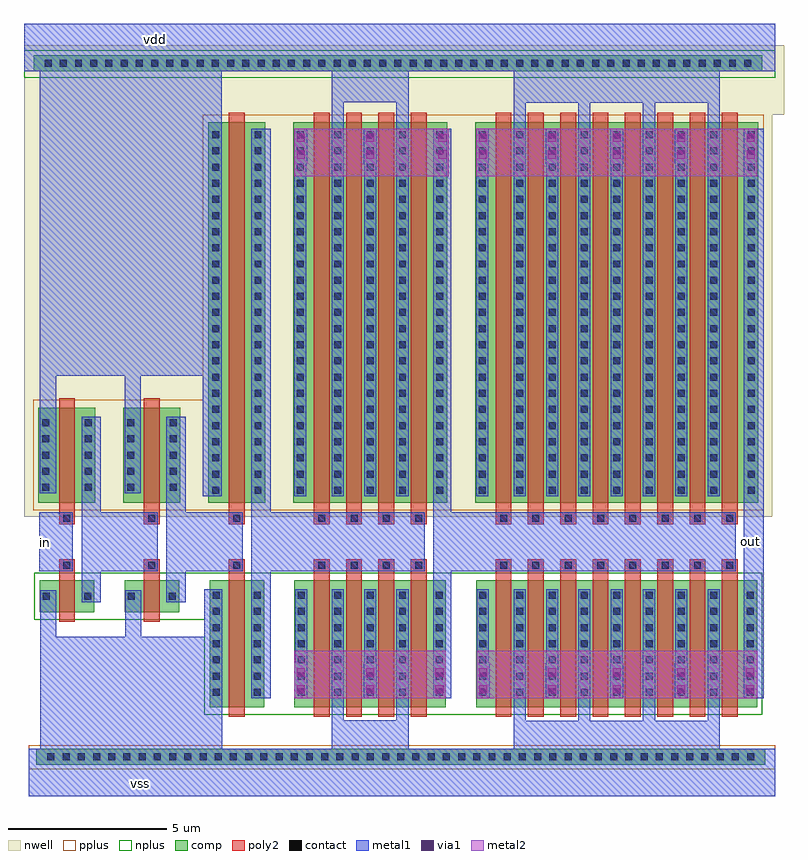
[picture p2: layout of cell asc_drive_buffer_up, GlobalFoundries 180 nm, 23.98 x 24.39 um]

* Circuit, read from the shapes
.subckt asc_drive_buffer_up in out vdd vss
XM1 n1 in vss vss nfet_03v3 w=1u l=0.5u
XM2 n2 n1 vss vss nfet_03v3 w=1u l=0.5u
XM3 n3 n2 vss vss nfet_03v3 w=4u l=0.5u
XM4 vss n3 n4 vss nfet_03v3 w=4u l=0.5u m=4
XM5 vss n4 out vss nfet_03v3 w=4u l=0.5u m=8
XM6 n1 in vdd vdd pfet_03v3 w=3u l=0.5u
XM7 n2 n1 vdd vdd pfet_03v3 w=3u l=0.5u
XM8 n3 n2 vdd vdd pfet_03v3 w=12u l=0.5u
XM9 vdd n3 n4 vdd pfet_03v3 w=12u l=0.5u m=4
XM10 vdd n4 out vdd pfet_03v3 w=12u l=0.5u m=8
.ends

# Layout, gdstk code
from math import pi, radians
import gdstk
lib = gdstk.Library(unit=1e-6, precision=1e-09)
def R(c, l, rs):  # rectangles x0, y0, x1, y1
    for r in rs: c.add(gdstk.rectangle(r[:2], r[2:], *l))
def A(c, l, x, y, w, h, nx, ny, dx, dy):  # array of equal rectangles
    R(c, l, [(x+i*dx, y+j*dy, x+i*dx+w, y+j*dy+h) for i in range(nx) for j in range(ny)])
nwell = (21, 0)
comp = (22, 0)
poly2 = (30, 0)
pplus = (31, 0)
nplus = (32, 0)
contact = (33, 0)
metal1 = (34, 0)
via1 = (35, 0)
metal2 = (36, 0)

via_dev_817 = lib.new_cell('via_dev$817')

via_dev_818 = lib.new_cell('via_dev$818')
R(via_dev_818, metal1, [(0,0,1.1,0.4)])
R(via_dev_818, via1, [(0.155,0.07,0.415,0.33), (0.685,0.07,0.945,0.33)])
R(via_dev_818, metal2, [(0,0,1.1,0.4)])

nfet_276 = lib.new_cell('nfet$276')
R(nfet_276, comp, [(-0.42,0,0,4), (0,0,3.94,4), (3.94,0,4.36,4)])
A(nfet_276, poly2, 0.19, -0.3, 0.5, 4.6, 4, 1, 1.02, 0)
A(nfet_276, poly2, 0.19, 4.3, 0.5, 0.36, 4, 1, 1.02, 0)
R(nfet_276, nplus, [(-0.59,-0.24,4.53,4.24)])
A(nfet_276, contact, -0.32, 0.36, 0.22, 0.22, 1, 7, 0, 0.51)
A(nfet_276, contact, 0.84, 0.36, 0.22, 0.22, 3, 7, 1.02, 0.51)
A(nfet_276, contact, 4.04, 0.36, 0.22, 0.22, 1, 7, 0, 0.51)
A(nfet_276, contact, 0.33, 4.37, 0.22, 0.22, 4, 1, 1.02, 0)
A(nfet_276, metal1, 0.76, 0.28, 0.38, 3.44, 3, 1, 1.02, 0)
A(nfet_276, metal1, 0.25, 4.29, 0.38, 0.38, 4, 1, 1.02, 0)
R(nfet_276, metal1, [(-0.4,0.28,-0.02,3.72), (3.96,0.28,4.34,3.72)])

via_dev_819 = lib.new_cell('via_dev$819')
R(via_dev_819, comp, [(0,0,23,0.5)])
A(via_dev_819, contact, 0.35, 0.14, 0.22, 0.22, 47, 1, 0.48, 0)
R(via_dev_819, metal1, [(0,0,23,0.5)])

nfet_277 = lib.new_cell('nfet$277')
R(nfet_277, comp, [(-0.42,0,0,4), (0,0,8.02,4), (8.02,0,8.44,4)])
A(nfet_277, poly2, 0.19, -0.3, 0.5, 4.6, 8, 1, 1.02, 0)
A(nfet_277, poly2, 0.19, 4.3, 0.5, 0.36, 8, 1, 1.02, 0)
R(nfet_277, nplus, [(-0.59,-0.24,8.61,4.24)])
A(nfet_277, contact, -0.32, 0.36, 0.22, 0.22, 1, 7, 0, 0.51)
A(nfet_277, contact, 0.84, 0.36, 0.22, 0.22, 7, 7, 1.02, 0.51)
A(nfet_277, contact, 8.12, 0.36, 0.22, 0.22, 1, 7, 0, 0.51)
A(nfet_277, contact, 0.33, 4.37, 0.22, 0.22, 8, 1, 1.02, 0)
A(nfet_277, metal1, 0.76, 0.28, 0.38, 3.44, 7, 1, 1.02, 0)
A(nfet_277, metal1, 0.25, 4.29, 0.38, 0.38, 8, 1, 1.02, 0)
R(nfet_277, metal1, [(-0.4,0.28,-0.02,3.72), (8.04,0.28,8.42,3.72)])

pfet_257 = lib.new_cell('pfet$257')
R(pfet_257, nwell, [(-0.9,-0.44,8.92,12.44)])
R(pfet_257, comp, [(-0.46,0,0,12), (0,0,8.02,12), (8.02,0,8.48,12)])
A(pfet_257, poly2, 0.19, -0.68, 0.5, 0.38, 8, 1, 1.02, 0)
A(pfet_257, poly2, 0.19, -0.3, 0.5, 12.6, 8, 1, 1.02, 0)
R(pfet_257, pplus, [(-0.63,-0.24,8.65,12.24)])
A(pfet_257, contact, 0.33, -0.6, 0.22, 0.22, 8, 1, 1.02, 0)
A(pfet_257, contact, -0.34, 0.28, 0.22, 0.22, 1, 23, 0, 0.51)
A(pfet_257, contact, 0.84, 0.28, 0.22, 0.22, 7, 23, 1.02, 0.51)
A(pfet_257, contact, 8.14, 0.28, 0.22, 0.22, 1, 23, 0, 0.51)
A(pfet_257, metal1, 0.25, -0.68, 0.38, 0.38, 8, 1, 1.02, 0)
A(pfet_257, metal1, 0.76, 0.2, 0.38, 11.6, 7, 1, 1.02, 0)
R(pfet_257, metal1, [(-0.42,0.2,-0.04,11.8), (8.06,0.2,8.44,11.8)])

via_dev_820 = lib.new_cell('via_dev$820')

pfet_258 = lib.new_cell('pfet$258')
R(pfet_258, nwell, [(-0.9,-0.44,4.84,12.44)])
R(pfet_258, comp, [(-0.46,0,0,12), (0,0,3.94,12), (3.94,0,4.4,12)])
A(pfet_258, poly2, 0.19, -0.68, 0.5, 0.38, 4, 1, 1.02, 0)
A(pfet_258, poly2, 0.19, -0.3, 0.5, 12.6, 4, 1, 1.02, 0)
R(pfet_258, pplus, [(-0.63,-0.24,4.57,12.24)])
A(pfet_258, contact, 0.33, -0.6, 0.22, 0.22, 4, 1, 1.02, 0)
A(pfet_258, contact, -0.34, 0.28, 0.22, 0.22, 1, 23, 0, 0.51)
A(pfet_258, contact, 0.84, 0.28, 0.22, 0.22, 3, 23, 1.02, 0.51)
A(pfet_258, contact, 4.06, 0.28, 0.22, 0.22, 1, 23, 0, 0.51)
A(pfet_258, metal1, 0.25, -0.68, 0.38, 0.38, 4, 1, 1.02, 0)
A(pfet_258, metal1, 0.76, 0.2, 0.38, 11.6, 3, 1, 1.02, 0)
R(pfet_258, metal1, [(-0.42,0.2,-0.04,11.8), (3.98,0.2,4.36,11.8)])

nfet_278 = lib.new_cell('nfet$278')
R(nfet_278, comp, [(-0.42,0,0,4), (0,0,0.88,4), (0.88,0,1.3,4)])
R(nfet_278, poly2, [(0.19,-0.3,0.69,4.3), (0.19,4.3,0.69,4.66)])
R(nfet_278, nplus, [(-0.59,-0.24,1.47,4.24)])
A(nfet_278, contact, -0.32, 0.36, 0.22, 0.22, 1, 7, 0, 0.51)
A(nfet_278, contact, 0.98, 0.36, 0.22, 0.22, 1, 7, 0, 0.51)
R(nfet_278, contact, [(0.33,4.37,0.55,4.59)])
R(nfet_278, metal1, [(-0.4,0.28,-0.02,3.72), (0.9,0.28,1.28,3.72), (0.25,4.29,0.63,4.67)])

pfet_259 = lib.new_cell('pfet$259')
R(pfet_259, nwell, [(-0.9,-0.44,1.78,12.44)])
R(pfet_259, comp, [(-0.46,0,0,12), (0,0,0.88,12), (0.88,0,1.34,12)])
R(pfet_259, poly2, [(0.19,-0.68,0.69,-0.3), (0.19,-0.3,0.69,12.3)])
R(pfet_259, pplus, [(-0.63,-0.24,1.51,12.24)])
A(pfet_259, contact, -0.34, 0.28, 0.22, 0.22, 1, 23, 0, 0.51)
A(pfet_259, contact, 1, 0.28, 0.22, 0.22, 1, 23, 0, 0.51)
R(pfet_259, contact, [(0.33,-0.6,0.55,-0.38)])
R(pfet_259, metal1, [(0.25,-0.68,0.63,-0.3), (-0.42,0.2,-0.04,11.8), (0.92,0.2,1.3,11.8)])

nfet_279 = lib.new_cell('nfet$279')
R(nfet_279, comp, [(-0.42,0,0,1), (0,0,0.88,1), (0.88,0,1.3,1)])
R(nfet_279, poly2, [(0.19,-0.3,0.69,1.3), (0.19,1.3,0.69,1.66)])
R(nfet_279, nplus, [(-0.59,-0.24,1.47,1.24)])
R(nfet_279, contact, [(-0.32,0.39,-0.1,0.61), (0.98,0.39,1.2,0.61), (0.33,1.37,0.55,1.59)])
R(nfet_279, metal1, [(-0.4,0.31,-0.02,0.69), (0.9,0.31,1.28,0.69), (0.25,1.29,0.63,1.67)])

pfet_260 = lib.new_cell('pfet$260')
R(pfet_260, nwell, [(-0.9,-0.44,1.78,3.44)])
R(pfet_260, comp, [(-0.46,0,0,3), (0,0,0.88,3), (0.88,0,1.34,3)])
R(pfet_260, poly2, [(0.19,-0.68,0.69,-0.3), (0.19,-0.3,0.69,3.3)])
R(pfet_260, pplus, [(-0.63,-0.24,1.51,3.24)])
A(pfet_260, contact, -0.34, 0.37, 0.22, 0.22, 1, 5, 0, 0.51)
A(pfet_260, contact, 1, 0.37, 0.22, 0.22, 1, 5, 0, 0.51)
R(pfet_260, contact, [(0.33,-0.6,0.55,-0.38)])
R(pfet_260, metal1, [(0.25,-0.68,0.63,-0.3), (-0.42,0.29,-0.04,2.71), (0.92,0.29,1.3,2.71)])

nfet_280 = lib.new_cell('nfet$280')
R(nfet_280, comp, [(-0.42,0,0,1), (0,0,0.88,1), (0.88,0,1.3,1)])
R(nfet_280, poly2, [(0.19,-0.3,0.69,1.3), (0.19,1.3,0.69,1.66)])
R(nfet_280, nplus, [(-0.59,-0.24,1.47,1.24)])
R(nfet_280, contact, [(-0.32,0.39,-0.1,0.61), (0.98,0.39,1.2,0.61), (0.33,1.37,0.55,1.59)])
R(nfet_280, metal1, [(-0.4,0.31,-0.02,0.69), (0.9,0.31,1.28,0.69), (0.25,1.29,0.63,1.67)])

pfet_261 = lib.new_cell('pfet$261')
R(pfet_261, nwell, [(-0.9,-0.44,1.78,3.44)])
R(pfet_261, comp, [(-0.46,0,0,3), (0,0,0.88,3), (0.88,0,1.34,3)])
R(pfet_261, poly2, [(0.19,-0.68,0.69,-0.3), (0.19,-0.3,0.69,3.3)])
R(pfet_261, pplus, [(-0.63,-0.24,1.51,3.24)])
A(pfet_261, contact, -0.34, 0.37, 0.22, 0.22, 1, 5, 0, 0.51)
A(pfet_261, contact, 1, 0.37, 0.22, 0.22, 1, 5, 0, 0.51)
R(pfet_261, contact, [(0.33,-0.6,0.55,-0.38)])
R(pfet_261, metal1, [(0.25,-0.68,0.63,-0.3), (-0.42,0.29,-0.04,2.71), (0.92,0.29,1.3,2.71)])

asc_drive_buffer_up = lib.new_cell('asc_drive_buffer_up')
R(asc_drive_buffer_up, nwell, [(-4.645,13.175,-1.95,21.975), (-1.965,13.175,0.73,21.975), (-4.645,21.975,19.34,24.175)])
R(asc_drive_buffer_up, pplus, [(-4.5,1.325,19.07,2.075), (-2.22,9.495,-1.68,12.975), (0.46,9.495,1,12.975), (3.14,9.495,3.68,21.975), (8.88,9.495,9.42,21.975)])
R(asc_drive_buffer_up, nplus, [(3.1,3.04,3.72,7.52), (8.84,3.04,9.46,7.52), (-2.26,6.04,-1.64,7.52), (0.42,6.04,1.04,7.52), (-4.645,23.15,19.07,24.015)])
A(asc_drive_buffer_up, metal1, 10.81, 1.965, 0.38, 1.595, 4, 1, 2.04, 0)
A(asc_drive_buffer_up, metal1, 10.81, 21.535, 0.38, 1.815, 4, 1, 2.04, 0)
R(asc_drive_buffer_up, metal1, [(-4.5,0.465,19.07,1.965), (-1.9,1.465,-1.75,1.965), (-4.13,1.965,-3.625,6.97), (-3.625,1.965,1.04,5.5), (-1.45,1.965,-0.945,6.97), (1.04,1.965,1.61,7), (5.07,1.965,5.45,3.56), (5.45,1.965,7.11,2.86), (7.11,1.965,7.49,3.56), (11.19,1.965,16.93,2.855), (8.27,3.555,8.84,21.535), (2.53,3.56,3.14,21.535), (18.07,3.56,18.7,21.535), (-2.83,6.59,-2.22,12.445), (-0.15,6.59,0.46,12.445), (-4.16,7.57,-3.1,9.435), (-2.22,7.57,-0.42,9.435), (0.46,7.57,2.26,9.435), (3.14,7.57,8,9.435), (8.84,7.57,17.82,9.435), (1.88,7.95,2.26,9.055), (1,9.935,1.59,23.35), (-2.81,9.955,-2.43,10.025), (-0.13,9.955,0.25,10.025), (-4.15,10.025,-3.635,23.35), (-1.47,10.025,-0.955,23.35), (-3.635,13.745,1,23.35), (5.07,21.535,5.45,23.35), (7.11,21.535,7.49,23.35), (11.19,22.36,16.93,23.35), (5.45,22.365,7.11,23.35), (-4.645,23.35,19.07,24.85), (-1.77,23.35,-1.62,23.85)])
R(asc_drive_buffer_up, metal2, [(3.89,3.555,8.67,5.06), (9.65,3.555,18.49,5.06), (3.89,20.035,8.76,21.535), (9.63,20.035,18.49,21.535)])
asc_drive_buffer_up.add(gdstk.Reference(via_dev_817, (-2.41,2.26), rotation=pi/2))
asc_drive_buffer_up.add(gdstk.Reference(via_dev_818, (4.29,3.56), rotation=pi/2))
asc_drive_buffer_up.add(gdstk.Reference(nfet_276, (4.31,3.28)))
asc_drive_buffer_up.add(gdstk.Reference(via_dev_819, (-4.345,23.35)))
asc_drive_buffer_up.add(gdstk.Reference(via_dev_819, (-4.255,1.465)))
asc_drive_buffer_up.add(gdstk.Reference(nfet_277, (10.05,3.28)))
asc_drive_buffer_up.add(gdstk.Reference(via_dev_818, (6.48,3.56), rotation=pi/2))
asc_drive_buffer_up.add(gdstk.Reference(pfet_257, (10.05,9.735)))
asc_drive_buffer_up.add(gdstk.Reference(via_dev_820, (2.95,2.26), rotation=pi/2))
asc_drive_buffer_up.add(gdstk.Reference(pfet_258, (4.31,9.735)))
asc_drive_buffer_up.add(gdstk.Reference(nfet_278, (1.63,3.28)))
asc_drive_buffer_up.add(gdstk.Reference(via_dev_820, (0.27,2.26), rotation=pi/2))
asc_drive_buffer_up.add(gdstk.Reference(pfet_259, (1.63,9.735)))
asc_drive_buffer_up.add(gdstk.Reference(via_dev_820, (-4.03,2.26), rotation=pi/2))
asc_drive_buffer_up.add(gdstk.Reference(nfet_279, (-1.05,6.28)))
asc_drive_buffer_up.add(gdstk.Reference(via_dev_818, (8.67,3.56), rotation=pi/2))
asc_drive_buffer_up.add(gdstk.Reference(pfet_260, (-1.05,9.735)))
asc_drive_buffer_up.add(gdstk.Reference(via_dev_818, (4.29,20.435), rotation=pi/2))
asc_drive_buffer_up.add(gdstk.Reference(via_dev_818, (6.48,20.435), rotation=pi/2))
asc_drive_buffer_up.add(gdstk.Reference(via_dev_818, (8.76,20.435), rotation=pi/2))
asc_drive_buffer_up.add(gdstk.Reference(via_dev_818, (10.03,20.435), rotation=pi/2))
asc_drive_buffer_up.add(gdstk.Reference(via_dev_818, (12.22,20.435), rotation=pi/2))
asc_drive_buffer_up.add(gdstk.Reference(via_dev_818, (14.26,20.435), rotation=pi/2))
asc_drive_buffer_up.add(gdstk.Reference(via_dev_818, (16.3,20.435), rotation=pi/2))
asc_drive_buffer_up.add(gdstk.Reference(via_dev_818, (18.49,20.435), rotation=pi/2))
asc_drive_buffer_up.add(gdstk.Reference(via_dev_818, (10.05,3.56), rotation=pi/2))
asc_drive_buffer_up.add(gdstk.Reference(via_dev_818, (12.22,3.56), rotation=pi/2))
asc_drive_buffer_up.add(gdstk.Reference(via_dev_818, (14.26,3.56), rotation=pi/2))
asc_drive_buffer_up.add(gdstk.Reference(via_dev_818, (16.3,3.56), rotation=pi/2))
asc_drive_buffer_up.add(gdstk.Reference(via_dev_818, (18.47,3.56), rotation=pi/2))
asc_drive_buffer_up.add(gdstk.Reference(via_dev_817, (-6.71,2.26), rotation=pi/2))
asc_drive_buffer_up.add(gdstk.Reference(nfet_280, (-3.73,6.28)))
asc_drive_buffer_up.add(gdstk.Reference(pfet_261, (-3.73,9.735)))
asc_drive_buffer_up.add(gdstk.Label('vss', (-0.965,0.87), layer=34, texttype=10))
asc_drive_buffer_up.add(gdstk.Label('vdd', (-0.505,24.35), layer=34, texttype=10))
asc_drive_buffer_up.add(gdstk.Label('out', (18.285,8.495), layer=34, texttype=10))
asc_drive_buffer_up.add(gdstk.Label('in', (-3.955,8.465), layer=34, texttype=10))

lib.write_gds('asc_drive_buffer_up.gds')
